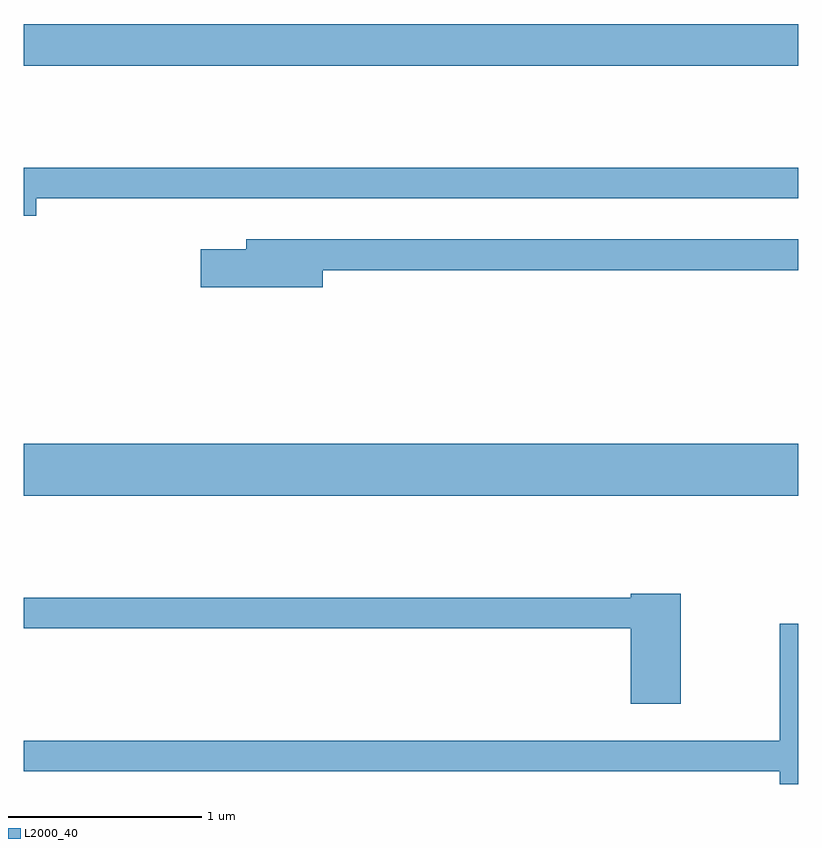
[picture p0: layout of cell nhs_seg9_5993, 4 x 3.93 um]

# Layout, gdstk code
import gdstk
lib = gdstk.Library(unit=1e-6, precision=1e-09)
def R(c, l, rs):  # rectangles x0, y0, x1, y1
    for r in rs: c.add(gdstk.rectangle(r[:2], r[2:], *l))
def P(c, l, *ps):  # polygons
    for p in ps: c.add(gdstk.Polygon(p, *l))
L2000_40 = (2000, 40)

nhs_seg9_5993 = lib.new_cell('nhs_seg9_5993')
R(nhs_seg9_5993, L2000_40, [(361.611,2033.996,365.611,2034.264), (361.611,2036.216,365.611,2036.432)])
P(nhs_seg9_5993, L2000_40, [(361.674,2035.531),(365.611,2035.531),(365.611,2035.689),(361.611,2035.689),(361.611,2035.441),(361.674,2035.441)],
  [(363.154,2035.161),(365.611,2035.161),(365.611,2035.319),(362.761,2035.319),(362.761,2035.269),(362.526,2035.269),(362.526,2035.071),(363.154,2035.071)],
  [(365.004,2033.489),(364.746,2033.489),(364.746,2033.469),(361.611,2033.469),(361.611,2033.311),(364.746,2033.311),(364.746,2032.921),(365.004,2032.921)],
  [(365.611,2033.334),(365.516,2033.334),(365.516,2032.729),(361.611,2032.729),(361.611,2032.571),(365.516,2032.571),(365.516,2032.506),(365.611,2032.506)])

lib.write_gds('nhs_seg9_5993.gds')
